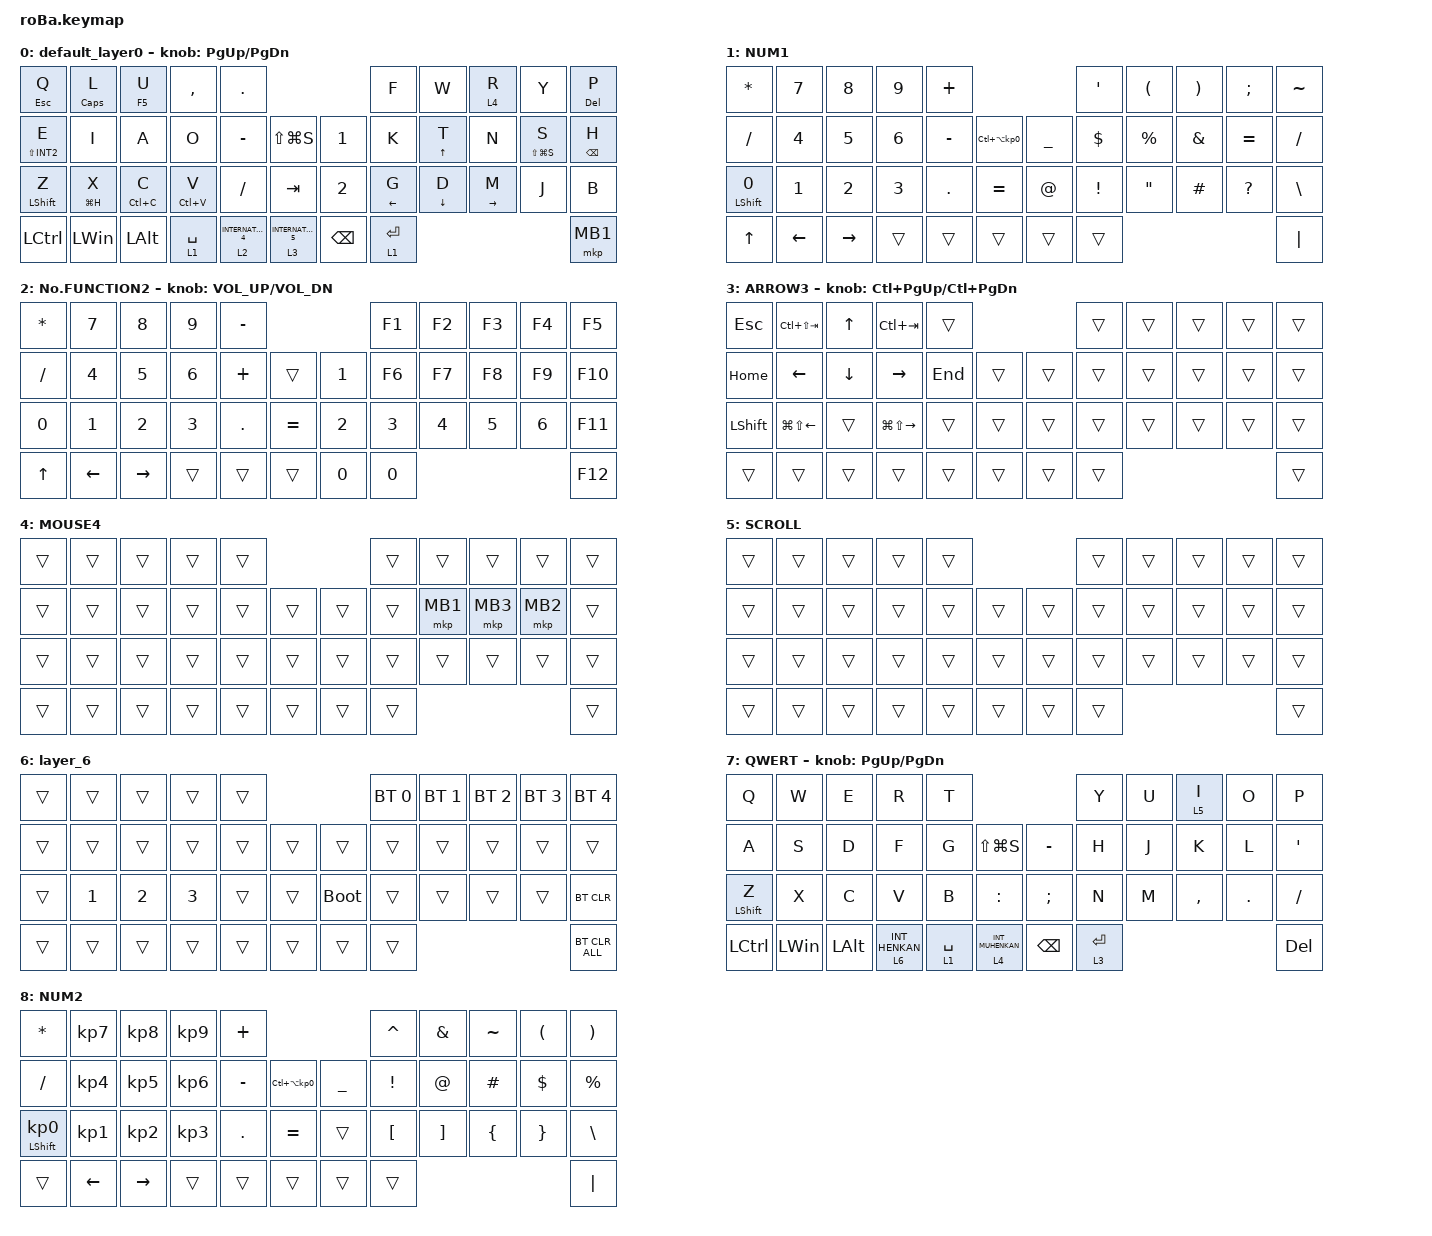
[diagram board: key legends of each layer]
#include <behaviors.dtsi>
#include <dt-bindings/zmk/bt.h>
#include <dt-bindings/zmk/keys.h>
#include <dt-bindings/zmk/pointing.h>

&mt {
    flavor = "balanced";
    quick-tap-ms = <0>;
};

&trackball {
    automouse-layer = <4>;
    scroll-layers = <5>;

    // arrows {
    //     layers = <3>;
    //     bindings =
    //         <&kp RIGHT_ARROW>,
    //         <&kp LEFT_ARROW>,
    //         <&kp UP_ARROW>,
    //         <&kp DOWN_ARROW>;
    //     tick = <10>;
    //     wait-ms = <5>;
    //     tap-ms = <5>;
    // };
};

/ {
    combos {
        compatible = "zmk,combos";

        tab {
            bindings = <&kp TAB>;
            key-positions = <11 12>;
        };

        shift_tab {
            bindings = <&kp LS(TAB)>;
            key-positions = <12 13>;
        };

        muhennkann {
            bindings = <&to_layer_0 INT_MUHENKAN>;
            key-positions = <11 10>;
        };

        double_quotation {
            bindings = <&kp DOUBLE_QUOTES>;
            key-positions = <20 21>;
        };

        eq {
            bindings = <&kp EQUAL>;
            key-positions = <24 25>;
        };
    };

    macros {
        to_layer_0: to_layer_0 {
            compatible = "zmk,behavior-macro-one-param";
            #binding-cells = <1>;
            bindings = <&to 0 &macro_param_1to1 &kp MACRO_PLACEHOLDER>;
            label = "TO_LAYER_0";
        };
    };

    behaviors {
        lt_to_layer_0: lt_to_layer_0 {
            compatible = "zmk,behavior-hold-tap";
            label = "LAYER_TAP_TO_0";
            bindings = <&mo>, <&to_layer_0>;

            #binding-cells = <2>;
            tapping-term-ms = <200>;
        };
    };

    keymap {
        compatible = "zmk,keymap";

        default_layer0 {
            bindings = <
&mt ESCAPE Q      &mt CAPSLOCK L  &mt F5 U      &kp COMMA    &kp PERIOD                                                       &kp F             &kp W           &lt 4 R            &kp Y            &mt DELETE P
&mt LS(INT2) E    &kp I           &kp A         &kp O        &kp MINUS              &kp LS(LG(S))              &kp NUMBER_1   &kp K             &mt UP_ARROW T  &kp N              &mt LS(LG(S)) S  &mt BACKSPACE H
&mt LEFT_SHIFT Z  &mt LG(H) X     &mt LC(C) C   &mt LC(V) V  &kp SLASH              &kp TAB                    &kp NUMBER_2   &mt LEFT_ARROW G  &mt DOWN D      &mt RIGHT_ARROW M  &kp J            &kp B
&kp LCTRL         &kp LEFT_WIN    &kp LEFT_ALT  &lt 1 SPACE  &lt 2 INTERNATIONAL_4  &lt 3 INTERNATIONAL_5      &kp BACKSPACE  &lt 1 ENTER                                                           &mkp MB1
            >;

            sensor-bindings = <&inc_dec_kp PG_UP PAGE_DOWN>;
        };

        NUM1 {
            bindings = <
&kp ASTERISK             &kp N7          &kp N8           &kp N9        &kp PLUS                                                 &kp SQT          &kp LEFT_PARENTHESIS  &kp RIGHT_PARENTHESIS  &kp SEMICOLON  &kp TILDE
&kp SLASH                &kp NUMBER_4    &kp N5           &kp NUMBER_6  &kp MINUS   &kp LC(LA(KP_NUMBER_0))      &kp UNDERSCORE  &kp DOLLAR       &kp PERCENT           &kp AMPERSAND          &kp EQUAL      &kp SLASH
&mt LEFT_SHIFT NUMBER_0  &kp NUMBER_1    &kp NUMBER_2     &kp NUMBER_3  &kp PERIOD  &kp EQUAL                    &kp AT_SIGN     &kp EXCLAMATION  &kp DOUBLE_QUOTES     &kp HASH               &kp QUESTION   &kp BACKSLASH
&kp UP_ARROW             &kp LEFT_ARROW  &kp RIGHT_ARROW  &trans        &trans      &trans                       &trans          &trans                                                                       &kp PIPE
            >;
        };

        No.FUNCTION2 {
            bindings = <
&kp ASTERISK  &kp N7          &kp NUMBER_8     &kp NUMBER_9  &kp MINUS                                &kp F1        &kp F2        &kp F3  &kp F4        &kp F5
&kp SLASH     &kp NUMBER_4    &kp N5           &kp NUMBER_6  &kp PLUS    &trans         &kp NUMBER_1  &kp F6        &kp F7        &kp F8  &kp F9        &kp F10
&kp NUMBER_0  &kp NUMBER_1    &kp NUMBER_2     &kp NUMBER_3  &kp PERIOD  &kp EQUAL      &kp NUMBER_2  &kp NUMBER_3  &kp NUMBER_4  &kp N5  &kp NUMBER_6  &kp F11
&kp UP_ARROW  &kp LEFT_ARROW  &kp RIGHT_ARROW  &trans        &trans      &trans         &kp N0        &kp N0                                            &kp F12
            >;

            sensor-bindings = <&inc_dec_kp C_VOLUME_UP C_VOL_DN>;
        };

        ARROW3 {
            bindings = <
&kp ESCAPE      &kp LC(LS(TAB))         &kp UP_ARROW    &kp LC(TAB)              &trans                       &trans  &trans  &trans  &trans  &trans
&kp HOME        &kp LEFT_ARROW          &kp DOWN_ARROW  &kp RIGHT_ARROW          &kp END  &trans      &trans  &trans  &trans  &trans  &trans  &trans
&kp LEFT_SHIFT  &kp LG(LS(LEFT_ARROW))  &trans          &kp LG(LS(RIGHT_ARROW))  &trans   &trans      &trans  &trans  &trans  &trans  &trans  &trans
&trans          &trans                  &trans          &trans                   &trans   &trans      &trans  &trans                          &trans
            >;

            sensor-bindings = <&inc_dec_kp LC(PAGE_UP) LC(PAGE_DOWN)>;
        };

        MOUSE4 {
            bindings = <
&trans  &trans  &trans  &trans  &trans                      &trans  &trans    &trans    &trans    &trans
&trans  &trans  &trans  &trans  &trans  &trans      &trans  &trans  &mkp MB1  &mkp MB3  &mkp MB2  &trans
&trans  &trans  &trans  &trans  &trans  &trans      &trans  &trans  &trans    &trans    &trans    &trans
&trans  &trans  &trans  &trans  &trans  &trans      &trans  &trans                                &trans
            >;
        };

        SCROLL {
            bindings = <
&trans  &trans  &trans  &trans  &trans                      &trans  &trans  &trans  &trans  &trans
&trans  &trans  &trans  &trans  &trans  &trans      &trans  &trans  &trans  &trans  &trans  &trans
&trans  &trans  &trans  &trans  &trans  &trans      &trans  &trans  &trans  &trans  &trans  &trans
&trans  &trans  &trans  &trans  &trans  &trans      &trans  &trans                          &trans
            >;
        };

        layer_6 {
            bindings = <
&trans  &trans        &trans        &trans        &trans                           &bt BT_SEL 0  &bt BT_SEL 1  &bt BT_SEL 2  &bt BT_SEL 3  &bt BT_SEL 4
&trans  &trans        &trans        &trans        &trans  &trans      &trans       &trans        &trans        &trans        &trans        &trans
&trans  &kp NUMBER_1  &kp NUMBER_2  &kp NUMBER_3  &trans  &trans      &bootloader  &trans        &trans        &trans        &trans        &bt BT_CLR
&trans  &trans        &trans        &trans        &trans  &trans      &trans       &trans                                                  &bt BT_CLR_ALL
            >;
        };

        QWERT {
            bindings = <
&kp Q             &kp W         &kp E         &kp R                        &kp T                                                          &kp Y        &kp U  &lt 5 I    &kp O    &kp P
&kp A             &kp S         &kp D         &kp F                        &kp G        &kp LS(LG(S))                      &kp MINUS      &kp H        &kp J  &kp K      &kp L    &kp SQT
&mt LEFT_SHIFT Z  &kp X         &kp C         &kp V                        &kp B        &kp COLON                          &kp SEMICOLON  &kp N        &kp M  &kp COMMA  &kp DOT  &kp SLASH
&kp LCTRL         &kp LEFT_WIN  &kp LEFT_ALT  &lt_to_layer_0 6 INT_HENKAN  &lt 1 SPACE  &lt_to_layer_0 4 INT_MUHENKAN      &kp BACKSPACE  &lt 3 ENTER                             &kp DEL
            >;

            sensor-bindings = <&inc_dec_kp PG_UP PAGE_DOWN>;
        };

        NUM2 {
            bindings = <
&kp ASTERISK                &kp KP_NUMBER_7  &kp KP_NUMBER_8  &kp KP_NUMBER_9  &kp PLUS                                                 &kp CARET         &kp AMPERSAND      &kp TILDE       &kp LEFT_PARENTHESIS  &kp RIGHT_PARENTHESIS
&kp SLASH                   &kp KP_NUMBER_4  &kp KP_NUMBER_5  &kp KP_NUMBER_6  &kp MINUS   &kp LC(LA(KP_NUMBER_0))      &kp UNDERSCORE  &kp EXCLAMATION   &kp AT_SIGN        &kp HASH        &kp DOLLAR            &kp PERCENT
&mt LEFT_SHIFT KP_NUMBER_0  &kp KP_NUMBER_1  &kp KP_NUMBER_2  &kp KP_NUMBER_3  &kp PERIOD  &kp EQUAL                    &trans          &kp LEFT_BRACKET  &kp RIGHT_BRACKET  &kp LEFT_BRACE  &kp RIGHT_BRACE       &kp BACKSLASH
&trans                      &kp LEFT_ARROW   &kp RIGHT_ARROW  &trans           &trans      &trans                       &trans          &trans                                                                     &kp PIPE
            >;
        };
    };
};
